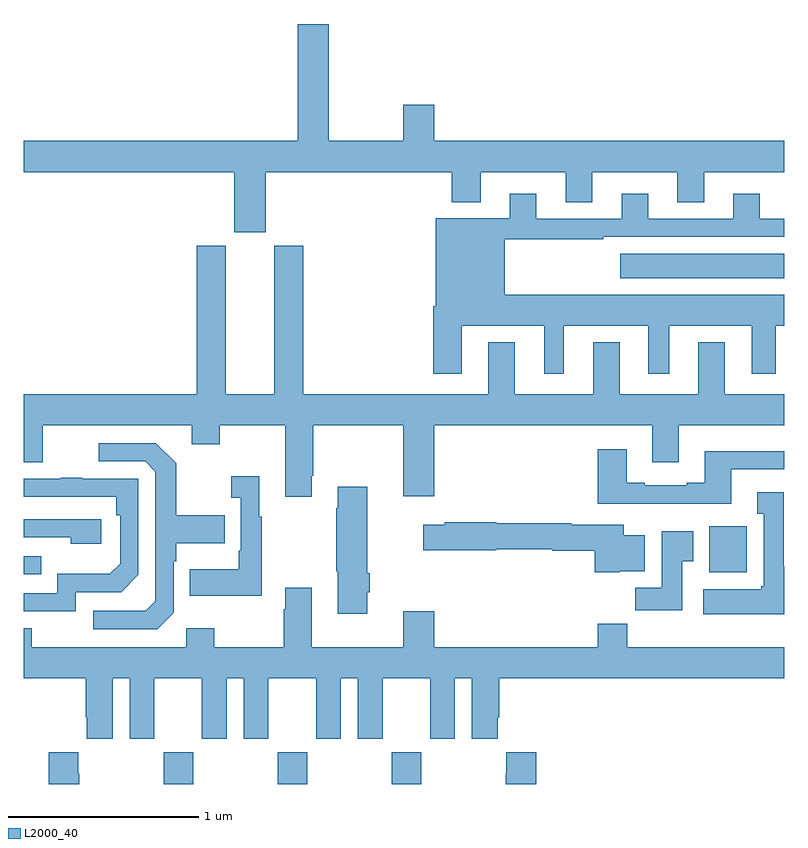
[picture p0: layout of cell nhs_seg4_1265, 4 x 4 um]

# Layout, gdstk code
import gdstk
lib = gdstk.Library(unit=1e-6, precision=1e-09)
def R(c, l, rs):  # rectangles x0, y0, x1, y1
    for r in rs: c.add(gdstk.rectangle(r[:2], r[2:], *l))
def A(c, l, x, y, w, h, nx, ny, dx, dy):  # array of equal rectangles
    R(c, l, [(x+i*dx, y+j*dy, x+i*dx+w, y+j*dy+h) for i in range(nx) for j in range(ny)])
def P(c, l, *ps):  # polygons
    for p in ps: c.add(gdstk.Polygon(p, *l))
L2000_40 = (2000, 40)

nhs_seg4_1265 = lib.new_cell('nhs_seg4_1265')
A(nhs_seg4_1265, L2000_40, 175.735, 826.9, 0.155, 0.168, 3, 1, 0.6, 0)
R(nhs_seg4_1265, L2000_40, [(175,828.003,175.091,828.099), (178.607,828.014,178.804,828.256), (178.137,829.562,179,829.69)])
P(nhs_seg4_1265, L2000_40, [(176.272,830.12),(177.251,830.12),(177.251,829.961),(177.403,829.961),(177.403,830.12),(177.851,830.12),(177.851,829.96),(177.991,829.96),(177.991,830.12),(178.439,830.12),(178.439,829.96),(178.579,829.96),(178.579,830.12),(179,830.12),(179,830.284),(177.16,830.284),(177.16,830.473),(176.996,830.473),(176.996,830.284),(176.605,830.284),(176.605,830.899),(176.441,830.899),(176.441,830.284),(175,830.284),(175,830.12),(176.108,830.12),(176.108,829.803),(176.272,829.803)],
  [(177.304,829.31),(177.737,829.31),(177.737,829.059),(177.841,829.059),(177.841,829.31),(178.286,829.31),(178.286,829.059),(178.396,829.059),(178.396,829.31),(178.829,829.31),(178.829,829.059),(178.957,829.059),(178.957,829.31),(179,829.31),(179,829.474),(177.529,829.474),(177.529,829.767),(178.049,829.767),(178.049,829.779),(179,829.779),(179,829.875),(178.873,829.875),(178.873,830.005),(178.733,830.005),(178.733,829.875),(178.285,829.875),(178.285,830.005),(178.145,830.005),(178.145,829.875),(177.697,829.875),(177.697,830.005),(177.557,830.005),(177.557,829.876),(177.167,829.876),(177.167,829.414),(177.155,829.414),(177.155,829.059),(177.304,829.059)],
  [(176.515,828.523),(176.523,828.523),(176.523,828.788),(176.996,828.788),(176.996,828.414),(177.16,828.414),(177.16,828.788),(178.307,828.788),(178.307,828.594),(178.447,828.594),(178.447,828.788),(179,828.788),(179,828.952),(178.687,828.952),(178.687,829.225),(178.547,829.225),(178.547,828.952),(178.135,828.952),(178.135,829.225),(177.995,829.225),(177.995,828.952),(177.583,828.952),(177.583,829.225),(177.443,829.225),(177.443,828.952),(176.471,828.952),(176.471,829.731),(176.318,829.731),(176.318,828.952),(176.062,828.952),(176.062,829.731),(175.91,829.731),(175.91,828.952),(175,828.952),(175,828.594),(175.099,828.594),(175.099,828.788),(175.883,828.788),(175.883,828.689),(176.031,828.689),(176.031,828.788),(176.375,828.788),(176.375,828.411),(176.515,828.411)],
  [(175.788,827.802),(175.788,828.071),(175.801,828.071),(175.801,828.167),(176.057,828.167),(176.057,828.315),(175.801,828.315),(175.801,828.587),(175.695,828.693),(175.395,828.693),(175.395,828.597),(175.638,828.597),(175.692,828.543),(175.692,827.862),(175.641,827.811),(175.365,827.811),(175.365,827.715),(175.701,827.715)],
  [(178.723,828.555),(179,828.555),(179,828.652),(178.583,828.652),(178.583,828.484),(178.487,828.484),(178.487,828.471),(178.267,828.471),(178.267,828.484),(178.171,828.484),(178.171,828.661),(178.019,828.661),(178.019,828.374),(178.723,828.374)],
  [(176.251,828.307),(176.239,828.307),(176.239,828.52),(176.091,828.52),(176.091,828.407),(176.142,828.407),(176.142,828.127),(176.13,828.127),(176.13,828.031),(175.873,828.031),(175.873,827.891),(176.251,827.891)],
  [(175.272,827.91),(175.512,827.91),(175.602,828),(175.602,828.507),(175.307,828.507),(175.307,828.512),(175.195,828.512),(175.195,828.507),(175,828.507),(175,828.411),(175.486,828.411),(175.486,828.314),(175.506,828.314),(175.506,828.06),(175.453,828.007),(175.176,828.007),(175.176,827.904),(175,827.904),(175,827.808),(175.272,827.808)],
  [(176.806,827.908),(176.819,827.908),(176.819,828.008),(176.806,828.008),(176.806,828.463),(176.651,828.463),(176.651,828.35),(176.644,828.35),(176.644,828.019),(176.651,828.019),(176.651,827.796),(176.806,827.796)],
  [(179,828.046),(178.999,828.046),(178.999,828.436),(178.859,828.436),(178.859,828.323),(178.892,828.323),(178.892,827.94),(178.879,827.94),(178.879,827.926),(178.575,827.926),(178.575,827.792),(179,827.792)],
  [(175.408,828.294),(175,828.294),(175,828.198),(175.247,828.198),(175.247,828.164),(175.408,828.164)],
  [(178.134,828.02),(178.267,828.02),(178.267,828.208),(178.156,828.208),(178.156,828.265),(177.88,828.265),(177.88,828.272),(177.486,828.272),(177.486,828.278),(177.214,828.278),(177.214,828.265),(177.102,828.265),(177.102,828.131),(177.486,828.131),(177.486,828.136),(177.78,828.136),(177.78,828.128),(178.004,828.128),(178.004,828.014),(178.134,828.014)],
  [(178.465,828.073),(178.522,828.073),(178.522,828.229),(178.355,828.229),(178.355,827.932),(178.216,827.932),(178.216,827.814),(178.465,827.814)],
  [(175.041,827.719),(175,827.719),(175,827.456),(175.325,827.456),(175.325,827.251),(175.331,827.251),(175.331,827.139),(175.468,827.139),(175.468,827.456),(175.556,827.456),(175.556,827.139),(175.687,827.139),(175.687,827.456),(175.937,827.456),(175.937,827.139),(176.068,827.139),(176.068,827.456),(176.156,827.456),(176.156,827.139),(176.287,827.139),(176.287,827.456),(176.537,827.456),(176.537,827.139),(176.668,827.139),(176.668,827.456),(176.756,827.456),(176.756,827.139),(176.887,827.139),(176.887,827.456),(177.137,827.456),(177.137,827.139),(177.268,827.139),(177.268,827.456),(177.356,827.456),(177.356,827.139),(177.493,827.139),(177.493,827.251),(177.5,827.251),(177.5,827.456),(179,827.456),(179,827.62),(178.175,827.62),(178.175,827.744),(178.019,827.744),(178.019,827.62),(177.16,827.62),(177.16,827.809),(176.996,827.809),(176.996,827.62),(176.515,827.62),(176.515,827.932),(176.375,827.932),(176.375,827.819),(176.368,827.819),(176.368,827.62),(176.001,827.62),(176.001,827.719),(175.854,827.719),(175.854,827.62),(175.041,827.62)],
  [(175.29,826.955),(175.285,826.955),(175.285,827.068),(175.13,827.068),(175.13,826.9),(175.29,826.9)],
  [(177.695,827.068),(177.539,827.068),(177.539,826.955),(177.535,826.955),(177.535,826.9),(177.695,826.9)])

lib.write_gds('nhs_seg4_1265.gds')
